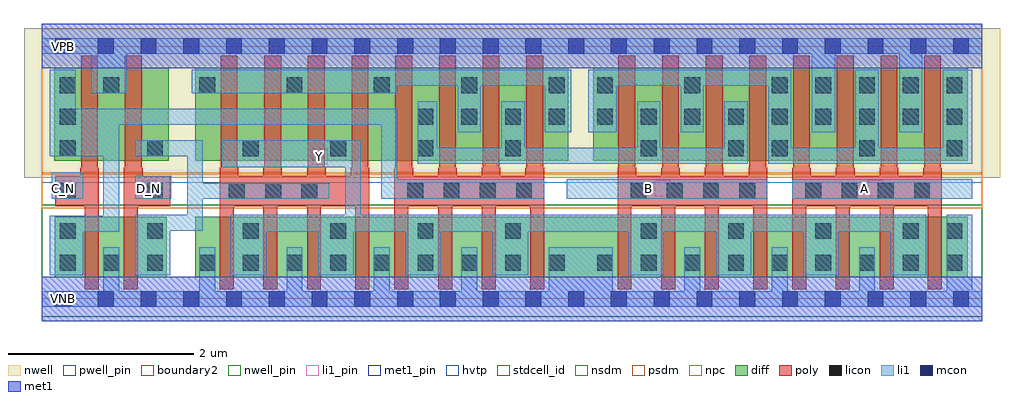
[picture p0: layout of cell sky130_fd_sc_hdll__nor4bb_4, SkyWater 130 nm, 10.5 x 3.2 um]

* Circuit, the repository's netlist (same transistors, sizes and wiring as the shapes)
* Copyright 2020 The SkyWater PDK Authors
*
* Licensed under the Apache License, Version 2.0 (the "License");
* you may not use this file except in compliance with the License.
* You may obtain a copy of the License at
*
*     https://www.apache.org/licenses/LICENSE-2.0
*
* Unless required by applicable law or agreed to in writing, software
* distributed under the License is distributed on an "AS IS" BASIS,
* WITHOUT WARRANTIES OR CONDITIONS OF ANY KIND, either express or implied.
* See the License for the specific language governing permissions and
* limitations under the License.
*
* SPDX-License-Identifier: Apache-2.0

.SUBCKT sky130_fd_sc_hdll__nor4bb_4 A B C_N D_N VGND VNB VPB VPWR Y
*.PININFO A:I B:I C_N:I D_N:I VGND:I VNB:I VPB:I VPWR:I Y:O
MMP0 VPWR A sndPA VPB sky130_fd_pr__pfet_01v8_hvt m=4 w=1.0U l=0.18U mult=1 sa=0.265
+ sb=0.265 sd=0.28 area=0.063 perim=1.14
MMP1 sndPA B sndPB VPB sky130_fd_pr__pfet_01v8_hvt m=4 w=1.0U l=0.18U mult=1 sa=0.265
+ sb=0.265 sd=0.28 area=0.063 perim=1.14
MMP2 sndPB C sndPC VPB sky130_fd_pr__pfet_01v8_hvt m=4 w=1.0U l=0.18U mult=1 sa=0.265
+ sb=0.265 sd=0.28 area=0.063 perim=1.14
MMP3 sndPC D Y VPB sky130_fd_pr__pfet_01v8_hvt m=4 w=1.0U l=0.18U mult=1 sa=0.265
+ sb=0.265 sd=0.28 area=0.063 perim=1.14
MMIP2 C C_N VPWR VPB sky130_fd_pr__pfet_01v8_hvt m=1 w=1.0U l=0.18U mult=1 sa=0.265
+ sb=0.265 sd=0.28 area=0.063 perim=1.14
MMIP3 D D_N VPWR VPB sky130_fd_pr__pfet_01v8_hvt m=1 w=1.0U l=0.18U mult=1 sa=0.265
+ sb=0.265 sd=0.28 area=0.063 perim=1.14
MMN0 Y A VGND VNB sky130_fd_pr__nfet_01v8 m=4 w=0.65U l=0.15U mult=1 sa=0.265 sb=0.265
+ sd=0.28 area=0.063 perim=1.14
MMN1 Y B VGND VNB sky130_fd_pr__nfet_01v8 m=4 w=0.65U l=0.15U mult=1 sa=0.265 sb=0.265
+ sd=0.28 area=0.063 perim=1.14
MMN2 Y C VGND VNB sky130_fd_pr__nfet_01v8 m=4 w=0.65U l=0.15U mult=1 sa=0.265 sb=0.265
+ sd=0.28 area=0.063 perim=1.14
MMN3 Y D VGND VNB sky130_fd_pr__nfet_01v8 m=4 w=0.65U l=0.15U mult=1 sa=0.265 sb=0.265
+ sd=0.28 area=0.063 perim=1.14
MMIN2 C C_N VGND VNB sky130_fd_pr__nfet_01v8 m=1 w=0.65U l=0.15U mult=1 sa=0.265
+ sb=0.265 sd=0.28 area=0.063 perim=1.14
MMIN3 D D_N VGND VNB sky130_fd_pr__nfet_01v8 m=1 w=0.65U l=0.15U mult=1 sa=0.265
+ sb=0.265 sd=0.28 area=0.063 perim=1.14
.ENDS sky130_fd_sc_hdll__nor4bb_4

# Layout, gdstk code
import gdstk
lib = gdstk.Library(unit=1e-6, precision=1e-09)
def R(c, l, rs):  # rectangles x0, y0, x1, y1
    for r in rs: c.add(gdstk.rectangle(r[:2], r[2:], *l))
def A(c, l, x, y, w, h, nx, ny, dx, dy):  # array of equal rectangles
    R(c, l, [(x+i*dx, y+j*dy, x+i*dx+w, y+j*dy+h) for i in range(nx) for j in range(ny)])
def P(c, l, *ps):  # polygons
    for p in ps: c.add(gdstk.Polygon(p, *l))
nwell_pin = (64, 16)
nwell = (64, 20)
diff = (65, 20)
poly = (66, 20)
licon = (66, 44)
li1_pin = (67, 16)
li1 = (67, 20)
mcon = (67, 44)
met1_pin = (68, 16)
met1 = (68, 20)
hvtp = (78, 44)
stdcell_id = (81, 4)
nsdm = (93, 44)
psdm = (94, 20)
npc = (95, 20)
pwell_pin = (122, 16)
boundary2 = (236, 0)

sky130_fd_sc_hdll__nor4b = lib.new_cell('sky130_fd_sc_hdll__nor4bb_4')
R(sky130_fd_sc_hdll__nor4b, nwell_pin, [(0.15,2.635,0.32,2.805)])
R(sky130_fd_sc_hdll__nor4b, nwell, [(-0.19,1.305,10.31,2.91)])
R(sky130_fd_sc_hdll__nor4b, diff, [(0.14,0.235,1.345,0.885), (1.655,0.235,9.965,0.885), (0.135,1.485,1.365,2.485), (1.655,1.485,5.665,2.485), (5.935,1.485,9.965,2.485)])
P(sky130_fd_sc_hdll__nor4b, poly, [(0.615,1.41),(0.605,1.41),(0.605,2.615),(0.425,2.615),(0.425,1.41),(0.415,1.41),(0.415,1.325),(0.145,1.325),(0.145,0.995),(0.465,0.995),(0.465,0.105),(0.615,0.105)],
  [(1.385,1.325),(1.085,1.325),(1.085,1.41),(1.075,1.41),(1.075,2.615),(0.895,2.615),(0.895,1.41),(0.885,1.41),(0.885,0.105),(1.035,0.105),(1.035,0.995),(1.385,0.995)],
  [(3.525,1.41),(3.515,1.41),(3.515,2.615),(3.335,2.615),(3.335,1.41),(3.325,1.41),(3.325,1.325),(3.055,1.325),(3.055,1.41),(3.045,1.41),(3.045,2.615),(2.865,2.615),(2.865,1.41),(2.855,1.41),(2.855,1.325),(2.585,1.325),(2.585,1.41),(2.575,1.41),(2.575,2.615),(2.395,2.615),(2.395,1.41),(2.385,1.41),(2.385,1.325),(2.115,1.325),(2.115,1.41),(2.105,1.41),(2.105,2.615),(1.925,2.615),(1.925,1.41),(1.915,1.41),(1.915,0.105),(2.065,0.105),(2.065,0.995),(2.385,0.995),(2.385,0.105),(2.535,0.105),(2.535,0.995),(2.855,0.995),(2.855,0.105),(3.005,0.105),(3.005,0.995),(3.375,0.995),(3.375,0.105),(3.525,0.105)],
  [(5.405,1.41),(5.395,1.41),(5.395,2.615),(5.215,2.615),(5.215,1.41),(5.205,1.41),(5.205,1.325),(4.935,1.325),(4.935,1.41),(4.925,1.41),(4.925,2.615),(4.745,2.615),(4.745,1.41),(4.735,1.41),(4.735,1.325),(4.465,1.325),(4.465,1.41),(4.455,1.41),(4.455,2.615),(4.275,2.615),(4.275,1.41),(4.265,1.41),(4.265,1.325),(3.995,1.325),(3.995,1.41),(3.985,1.41),(3.985,2.615),(3.805,2.615),(3.805,1.41),(3.795,1.41),(3.795,0.105),(3.945,0.105),(3.945,0.995),(4.265,0.995),(4.265,0.105),(4.415,0.105),(4.415,0.995),(4.735,0.995),(4.735,0.105),(4.885,0.105),(4.885,0.995),(5.255,0.995),(5.255,0.105),(5.405,0.105)],
  [(7.805,1.41),(7.795,1.41),(7.795,2.615),(7.615,2.615),(7.615,1.41),(7.605,1.41),(7.605,1.325),(7.335,1.325),(7.335,1.41),(7.325,1.41),(7.325,2.615),(7.145,2.615),(7.145,1.41),(7.135,1.41),(7.135,1.325),(6.865,1.325),(6.865,1.41),(6.855,1.41),(6.855,2.615),(6.675,2.615),(6.675,1.41),(6.665,1.41),(6.665,1.325),(6.395,1.325),(6.395,1.41),(6.385,1.41),(6.385,2.615),(6.205,2.615),(6.205,1.41),(6.195,1.41),(6.195,0.105),(6.345,0.105),(6.345,0.995),(6.665,0.995),(6.665,0.105),(6.815,0.105),(6.815,0.995),(7.135,0.995),(7.135,0.105),(7.285,0.105),(7.285,0.995),(7.655,0.995),(7.655,0.105),(7.805,0.105)],
  [(9.685,1.41),(9.675,1.41),(9.675,2.615),(9.495,2.615),(9.495,1.41),(9.485,1.41),(9.485,1.325),(9.215,1.325),(9.215,1.41),(9.205,1.41),(9.205,2.615),(9.025,2.615),(9.025,1.41),(9.015,1.41),(9.015,1.325),(8.745,1.325),(8.745,1.41),(8.735,1.41),(8.735,2.615),(8.555,2.615),(8.555,1.41),(8.545,1.41),(8.545,1.325),(8.275,1.325),(8.275,1.41),(8.265,1.41),(8.265,2.615),(8.085,2.615),(8.085,1.41),(8.075,1.41),(8.075,0.105),(8.225,0.105),(8.225,0.995),(8.545,0.995),(8.545,0.105),(8.695,0.105),(8.695,0.995),(9.015,0.995),(9.015,0.105),(9.165,0.105),(9.165,0.995),(9.535,0.995),(9.535,0.105),(9.685,0.105)])
A(sky130_fd_sc_hdll__nor4b, licon, 0.195, 0.305, 0.17, 0.17, 3, 1, 0.47, 0)
A(sky130_fd_sc_hdll__nor4b, licon, 1.695, 0.305, 0.17, 0.17, 9, 1, 0.47, 0)
A(sky130_fd_sc_hdll__nor4b, licon, 5.975, 0.305, 0.17, 0.17, 9, 2, 0.47, 1.57)
A(sky130_fd_sc_hdll__nor4b, licon, 2.165, 0.645, 0.17, 0.17, 4, 2, 0.94, 0.89)
A(sky130_fd_sc_hdll__nor4b, licon, 6.445, 0.645, 0.17, 0.17, 4, 1, 0.94, 0)
A(sky130_fd_sc_hdll__nor4b, licon, 2.015, 1.075, 0.17, 0.17, 3, 1, 0.39, 0)
A(sky130_fd_sc_hdll__nor4b, licon, 3.935, 1.075, 0.17, 0.17, 4, 1, 0.39, 0)
A(sky130_fd_sc_hdll__nor4b, licon, 6.335, 1.075, 0.17, 0.17, 4, 1, 0.39, 0)
A(sky130_fd_sc_hdll__nor4b, licon, 8.215, 1.075, 0.17, 0.17, 4, 1, 0.39, 0)
A(sky130_fd_sc_hdll__nor4b, licon, 0.195, 1.535, 0.17, 0.17, 1, 3, 0, 0.34)
A(sky130_fd_sc_hdll__nor4b, licon, 7.855, 1.535, 0.17, 0.17, 3, 1, 0.94, 0)
A(sky130_fd_sc_hdll__nor4b, licon, 4.045, 1.875, 0.17, 0.17, 4, 1, 0.47, 0)
A(sky130_fd_sc_hdll__nor4b, licon, 1.695, 2.215, 0.17, 0.17, 5, 1, 0.94, 0)
A(sky130_fd_sc_hdll__nor4b, licon, 5.975, 2.215, 0.17, 0.17, 3, 1, 0.94, 0)
A(sky130_fd_sc_hdll__nor4b, licon, 8.325, 2.215, 0.17, 0.17, 4, 1, 0.47, 0)
R(sky130_fd_sc_hdll__nor4b, licon, [(0.195,0.645,0.365,0.815), (1.135,0.645,1.305,0.815), (9.735,0.645,9.905,0.815), (0.195,1.075,0.365,1.245), (1.135,1.075,1.305,1.245), (1.135,1.535,1.305,1.705), (6.445,1.535,6.615,1.705), (7.385,1.535,7.555,1.705), (0.665,2.215,0.835,2.385)])
R(sky130_fd_sc_hdll__nor4b, li1_pin, [(0.15,1.105,0.32,1.275), (1.075,1.105,1.245,1.275), (6.595,1.105,6.765,1.275), (8.885,1.105,9.055,1.275), (2.91,1.445,3.08,1.615)])
R(sky130_fd_sc_hdll__nor4b, li1, [(0.11,1.075,0.445,1.365), (1.005,1.075,1.395,1.325), (5.65,1.075,7.805,1.285), (8.075,1.075,10.01,1.285)])
P(sky130_fd_sc_hdll__nor4b, li1, [(5.695,2.465),(1.615,2.465),(1.615,2.215),(3.825,2.215),(3.825,2.295),(4.475,2.295),(4.475,1.795),(4.725,1.795),(4.725,2.295),(5.415,2.295),(5.415,1.795),(5.695,1.795)],
  [(5.405,1.285),(3.825,1.285),(3.825,2.045),(0.365,2.045),(0.365,2.465),(0.085,2.465),(0.085,1.535),(0.665,1.535),(0.665,0.895),(0.085,0.895),(0.085,0.255),(0.445,0.255),(0.445,0.725),(0.835,0.725),(0.835,1.875),(3.655,1.875),(3.655,1.075),(5.405,1.075)],
  [(10.01,2.465),(9.695,2.465),(9.695,1.625),(9.005,1.625),(9.005,2.465),(8.755,2.465),(8.755,1.625),(8.065,1.625),(8.065,2.465),(5.88,2.465),(5.88,1.795),(6.185,1.795),(6.185,2.295),(6.875,2.295),(6.875,1.795),(7.125,1.795),(7.125,2.295),(7.815,2.295),(7.815,1.455),(10.01,1.455)],
  [(10.12,0.085),(10.01,0.085),(10.01,0.905),(9.735,0.905),(9.735,0.085),(8.965,0.085),(8.965,0.555),(8.795,0.555),(8.795,0.085),(8.025,0.085),(8.025,0.555),(7.855,0.555),(7.855,0.085),(7.085,0.085),(7.085,0.555),(6.915,0.555),(6.915,0.085),(6.145,0.085),(6.145,0.555),(5.455,0.555),(5.455,0.085),(4.685,0.085),(4.685,0.555),(4.515,0.555),(4.515,0.085),(3.745,0.085),(3.745,0.555),(3.575,0.555),(3.575,0.085),(2.805,0.085),(2.805,0.555),(2.635,0.555),(2.635,0.085),(1.865,0.085),(1.865,0.555),(1.695,0.555),(1.695,0.085),(0.835,0.085),(0.835,0.555),(0.665,0.555),(0.665,0.085),(0,0.085),(0,-0.085),(10.12,-0.085)],
  [(10.12,2.805),(0,2.805),(0,2.635),(0.535,2.635),(0.535,2.215),(0.915,2.215),(0.915,2.635),(8.285,2.635),(8.285,1.795),(8.535,1.795),(8.535,2.635),(9.225,2.635),(9.225,1.795),(9.475,1.795),(9.475,2.635),(10.12,2.635)],
  [(7.595,2.125),(7.345,2.125),(7.345,1.625),(6.655,1.625),(6.655,2.125),(6.405,2.125),(6.405,1.625),(5.195,1.625),(5.195,2.125),(4.945,2.125),(4.945,1.625),(4.255,1.625),(4.255,2.125),(4.045,2.125),(4.045,1.455),(7.595,1.455)],
  [(9.515,0.905),(3.435,0.905),(3.435,1.705),(1.94,1.705),(1.94,1.415),(3.265,1.415),(3.265,0.905),(2.035,0.905),(2.035,0.255),(2.415,0.255),(2.415,0.725),(2.975,0.725),(2.975,0.255),(3.355,0.255),(3.355,0.725),(3.915,0.725),(3.915,0.255),(4.295,0.255),(4.295,0.725),(4.855,0.725),(4.855,0.255),(5.235,0.255),(5.235,0.725),(6.315,0.725),(6.315,0.255),(6.695,0.255),(6.695,0.725),(7.255,0.725),(7.255,0.255),(7.635,0.255),(7.635,0.725),(8.195,0.725),(8.195,0.255),(8.575,0.255),(8.575,0.725),(9.135,0.725),(9.135,0.255),(9.515,0.255)],
  [(3.095,1.245),(1.735,1.245),(1.735,1.705),(1.005,1.705),(1.005,1.535),(1.565,1.535),(1.565,0.905),(1.005,0.905),(1.005,0.255),(1.385,0.255),(1.385,0.735),(1.735,0.735),(1.735,1.075),(3.095,1.075)])
A(sky130_fd_sc_hdll__nor4b, mcon, 0.145, -0.085, 0.17, 0.17, 22, 2, 0.46, 2.72)
R(sky130_fd_sc_hdll__nor4b, met1_pin, [(0.15,-0.085,0.32,0.085), (0.15,2.635,0.32,2.805)])
R(sky130_fd_sc_hdll__nor4b, met1, [(0,-0.24,10.12,0.24), (0,2.48,10.12,2.96)])
R(sky130_fd_sc_hdll__nor4b, hvtp, [(0,1.25,10.12,2.72)])
R(sky130_fd_sc_hdll__nor4b, stdcell_id, [(0,0,10.12,2.72)])
R(sky130_fd_sc_hdll__nor4b, nsdm, [(0,-0.19,10.12,1.015)])
R(sky130_fd_sc_hdll__nor4b, psdm, [(0,1.355,10.12,2.91)])
R(sky130_fd_sc_hdll__nor4b, npc, [(0,0.975,10.12,1.345)])
R(sky130_fd_sc_hdll__nor4b, pwell_pin, [(0.15,-0.085,0.32,0.085)])
R(sky130_fd_sc_hdll__nor4b, boundary2, [(0,0,10.12,2.72)])
sky130_fd_sc_hdll__nor4b.add(gdstk.Label('D_N', (1.15,1.19), layer=67, texttype=5))
sky130_fd_sc_hdll__nor4b.add(gdstk.Label('Y', (2.985,1.53), layer=67, texttype=5))
sky130_fd_sc_hdll__nor4b.add(gdstk.Label('A', (8.85,1.19), layer=67, texttype=5))
sky130_fd_sc_hdll__nor4b.add(gdstk.Label('B', (6.525,1.19), layer=67, texttype=5))
sky130_fd_sc_hdll__nor4b.add(gdstk.Label('C_N', (0.23,1.19), layer=67, texttype=5))
sky130_fd_sc_hdll__nor4b.add(gdstk.Label('VNB', (0.23,0), layer=64, texttype=59))
sky130_fd_sc_hdll__nor4b.add(gdstk.Label('VPB', (0.235,2.72), layer=64, texttype=5))
sky130_fd_sc_hdll__nor4b.add(gdstk.Label('VGND', (0.23,0), layer=68, texttype=5))
sky130_fd_sc_hdll__nor4b.add(gdstk.Label('VPWR', (0.23,2.72), layer=68, texttype=5))
sky130_fd_sc_hdll__nor4b.add(gdstk.Label('nor4bb_4', (0,0), layer=83, texttype=44))

lib.write_gds('sky130_fd_sc_hdll__nor4bb_4.gds')
